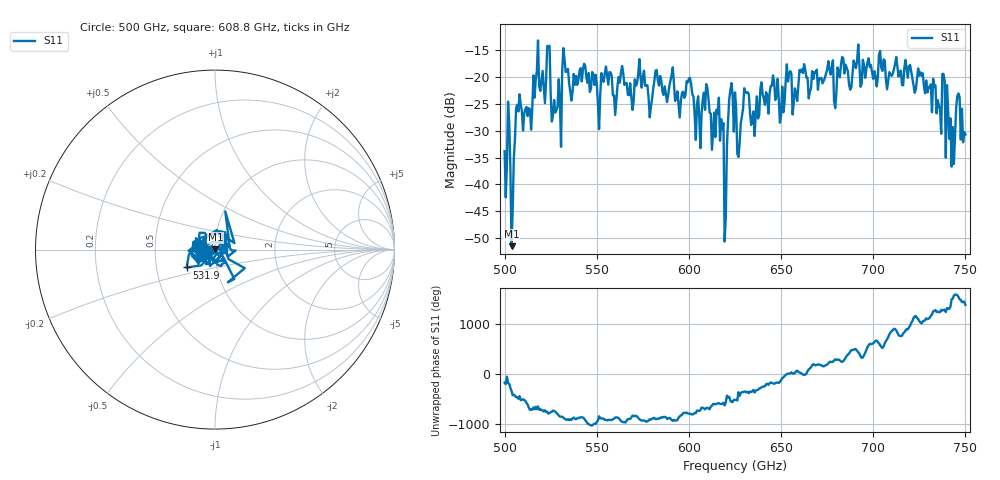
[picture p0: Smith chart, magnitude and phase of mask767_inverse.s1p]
!Created with skrf (http://scikit-rf.org).
# GHz S MA R 50.0
!freq magS11 angS11
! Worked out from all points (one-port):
!   401 points, 500 GHz to 750 GHz, reference 50 ohm
!   lowest |S11| = -51.5 dB at 503.8 GHz (marker M1), VSWR 1.01, Z = 50.2 + j0.0982 ohm
!   |S11| at or under -10 dB: start of sweep to end of sweep
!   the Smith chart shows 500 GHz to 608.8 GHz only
!   S11 on the Smith chart (normalised r, x): 500 GHz: 0.96, -0.00; 531.9 GHz: 0.71, -0.15; 608.8 GHz: 1.10, +0.03
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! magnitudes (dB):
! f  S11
! 500 GHz  -33.8
! 503.8 GHz  -51.5
! 507.5 GHz  -26.4
! 513.8 GHz  -26.0
! 516.9 GHz  -20.5
! 523.8 GHz  -14.2
! 526.9 GHz  -24.3
! 531.2 GHz  -18.7
! 531.9 GHz  -14.6
! 562.5 GHz  -21.0
! 593.8 GHz  -22.6
! 600 GHz  -20.2
! 605 GHz  -23.5
! 608.8 GHz  -26.1
! 617.5 GHz  -27.8
! 619.4 GHz  -50.6
! 622.5 GHz  -22.4
! 625 GHz  -22.8
! 627.5 GHz  -32.4
! 631.2 GHz  -22.9
! 635 GHz  -26.4
! 656.2 GHz  -26.9
! 687.5 GHz  -22.3
! 718.8 GHz  -20.1
! 738.8 GHz  -20.6
! 742.5 GHz  -36.7
! 745.6 GHz  -23.5
! 750 GHz  -30.7
